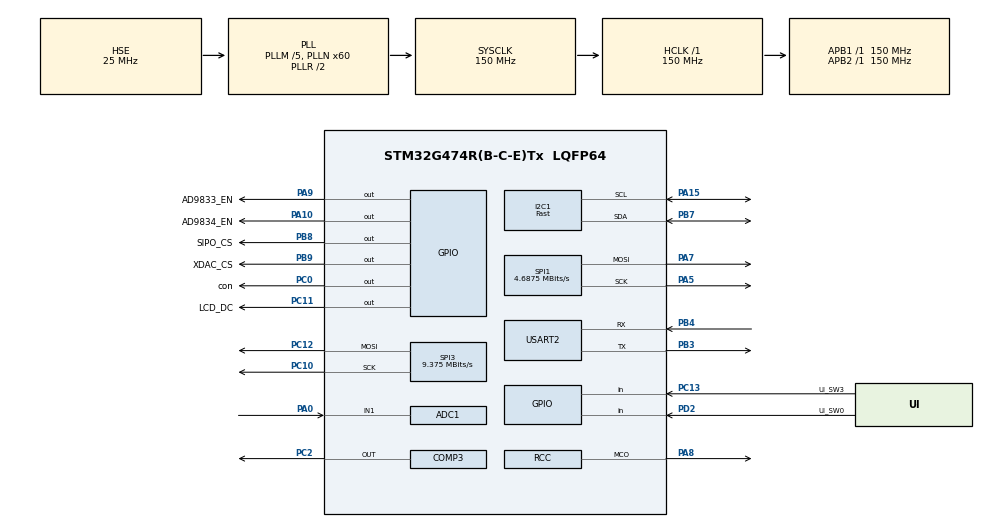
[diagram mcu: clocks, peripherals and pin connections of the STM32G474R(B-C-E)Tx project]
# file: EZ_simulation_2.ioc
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ADC1.Channel-1\#ChannelRegularConversion=ADC_CHANNEL_1
ADC1.ClockPrescaler=ADC_CLOCK_ASYNC_DIV1
ADC1.ContinuousConvMode=DISABLE
ADC1.ExternalTrigConv=ADC_EXTERNALTRIG_T6_TRGO
ADC1.NbrOfConversion=1
ADC1.NbrOfConversionFlag=1
ADC1.OffsetNumber-1\#ChannelRegularConversion=ADC_OFFSET_NONE
ADC1.Rank-1\#ChannelRegularConversion=1
ADC1.SamplingTime-1\#ChannelRegularConversion=ADC_SAMPLETIME_2CYCLES_5
ADC1.master=1
COMP3.Hysteresis=COMP_HYSTERESIS_70MV
CRC.CRCLength=CRC_POLYLENGTH_16B
CRC.DefaultInitValueUse=DEFAULT_INIT_VALUE_DISABLE
CRC.DefaultPolynomialUse=DEFAULT_POLYNOMIAL_DISABLE
CRC.GeneratingPolynomial=X12+X5+X0
Dma.ADC1.1.Direction=DMA_PERIPH_TO_MEMORY
Dma.ADC1.1.EventEnable=DISABLE
Dma.ADC1.1.Instance=DMA1_Channel1
Dma.ADC1.1.MemDataAlignment=DMA_MDATAALIGN_HALFWORD
Dma.ADC1.1.MemInc=DMA_MINC_ENABLE
Dma.ADC1.1.Mode=DMA_NORMAL
Dma.ADC1.1.PeriphDataAlignment=DMA_PDATAALIGN_HALFWORD
Dma.ADC1.1.PeriphInc=DMA_PINC_DISABLE
Dma.ADC1.1.Polarity=HAL_DMAMUX_REQ_GEN_RISING
Dma.ADC1.1.Priority=DMA_PRIORITY_LOW
Dma.ADC1.1.RequestNumber=1
Dma.ADC1.1.SignalID=NONE
Dma.ADC1.1.SyncEnable=DISABLE
Dma.ADC1.1.SyncPolarity=HAL_DMAMUX_SYNC_NO_EVENT
Dma.ADC1.1.SyncRequestNumber=1
Dma.ADC1.1.SyncSignalID=NONE
Dma.Request0=USART2_RX
Dma.Request1=ADC1
Dma.Request2=TIM2_CH1
Dma.TIM2_CH1.2.Direction=DMA_PERIPH_TO_MEMORY
Dma.TIM2_CH1.2.EventEnable=DISABLE
Dma.TIM2_CH1.2.Instance=DMA1_Channel2
Dma.TIM2_CH1.2.MemDataAlignment=DMA_MDATAALIGN_WORD
Dma.TIM2_CH1.2.MemInc=DMA_MINC_ENABLE
Dma.TIM2_CH1.2.Mode=DMA_NORMAL
Dma.TIM2_CH1.2.PeriphDataAlignment=DMA_PDATAALIGN_WORD
Dma.TIM2_CH1.2.PeriphInc=DMA_PINC_DISABLE
Dma.TIM2_CH1.2.Polarity=HAL_DMAMUX_REQ_GEN_RISING
Dma.TIM2_CH1.2.Priority=DMA_PRIORITY_HIGH
Dma.TIM2_CH1.2.RequestNumber=1
Dma.TIM2_CH1.2.SignalID=NONE
Dma.TIM2_CH1.2.SyncEnable=DISABLE
Dma.TIM2_CH1.2.SyncPolarity=HAL_DMAMUX_SYNC_NO_EVENT
Dma.TIM2_CH1.2.SyncRequestNumber=1
Dma.TIM2_CH1.2.SyncSignalID=NONE
Dma.USART2_RX.0.Direction=DMA_PERIPH_TO_MEMORY
Dma.USART2_RX.0.EventEnable=DISABLE
Dma.USART2_RX.0.Instance=DMA2_Channel8
Dma.USART2_RX.0.MemDataAlignment=DMA_MDATAALIGN_BYTE
Dma.USART2_RX.0.MemInc=DMA_MINC_ENABLE
Dma.USART2_RX.0.Mode=DMA_NORMAL
Dma.USART2_RX.0.PeriphDataAlignment=DMA_PDATAALIGN_BYTE
Dma.USART2_RX.0.PeriphInc=DMA_PINC_DISABLE
Dma.USART2_RX.0.Polarity=HAL_DMAMUX_REQ_GEN_RISING
Dma.USART2_RX.0.Priority=DMA_PRIORITY_LOW
Dma.USART2_RX.0.RequestNumber=1
Dma.USART2_RX.0.SignalID=NONE
Dma.USART2_RX.0.SyncEnable=DISABLE
Dma.USART2_RX.0.SyncPolarity=HAL_DMAMUX_SYNC_NO_EVENT
Dma.USART2_RX.0.SyncRequestNumber=1
Dma.USART2_RX.0.SyncSignalID=NONE
I2C1.I2C_Speed_Mode=I2C_Fast
I2C1.Timing=0x10E32879
Mcu.Family=STM32G4
Mcu.Name=STM32G474R(B-C-E)Tx
Mcu.Package=LQFP64
NVIC.DMA1_Channel1_IRQn=true\:0\:0\:false\:false\:true\:false\:true\:true
NVIC.DMA1_Channel2_IRQn=true\:0\:0\:false\:false\:true\:false\:true\:true
NVIC.DMA2_Channel8_IRQn=true\:0\:0\:false\:false\:true\:false\:true\:true
NVIC.PriorityGroup=NVIC_PRIORITYGROUP_4
NVIC.USART2_IRQn=true\:14\:0\:true\:false\:true\:true\:true\:true
PA0.Signal=SharedAnalog_PA0
PA10.GPIO_Label=AD9834_EN
PA10.Signal=GPIO_Output
PA13.Mode=Serial_Wire
PA13.Signal=SYS_JTMS-SWDIO
PA14.Mode=Serial_Wire
PA14.Signal=SYS_JTCK-SWCLK
PA15.Mode=I2C
PA15.Signal=I2C1_SCL
PA5.Mode=TX_Only_Simplex_Unidirect_Master
PA5.Signal=SPI1_SCK
PA7.Mode=TX_Only_Simplex_Unidirect_Master
PA7.Signal=SPI1_MOSI
PA8.GPIO_Speed=GPIO_SPEED_FREQ_HIGH
PA8.Mode=Clock-out
PA8.Signal=RCC_MCO
PA9.GPIO_Label=AD9833_EN
PA9.Signal=GPIO_Output
PB3.Mode=Asynchronous
PB3.Signal=USART2_TX
PB4.Mode=Asynchronous
PB4.Signal=USART2_RX
PB7.Mode=I2C
PB7.Signal=I2C1_SDA
PB8-BOOT0.GPIO_FM8=__NULL
PB8-BOOT0.GPIO_Label=SIPO_CS
PB8-BOOT0.GPIO_PuPd=GPIO_NOPULL
PB8-BOOT0.PinState=GPIO_PIN_RESET
PB8-BOOT0.Signal=GPIO_Output
PB9.GPIO_Label=XDAC_CS
PB9.GPIO_PuPd=GPIO_NOPULL
PB9.PinState=GPIO_PIN_SET
PB9.Signal=GPIO_Output
PC0.GPIO_Label=con
PC0.Signal=GPIO_Output
PC10.Mode=TX_Only_Simplex_Unidirect_Master
PC10.Signal=SPI3_SCK
PC11.GPIO_Label=LCD_DC
PC11.Signal=GPIO_Output
PC12.Mode=TX_Only_Simplex_Unidirect_Master
PC12.Signal=SPI3_MOSI
PC13.GPIO_Label=UI_SW3
PC13.GPIO_PuPd=GPIO_PULLUP
PC13.Signal=GPIO_Input
PC2.Mode=ExternalOutput
PC2.Signal=COMP3_OUT
PD2.GPIO_Label=UI_SW0
PD2.GPIO_PuPd=GPIO_PULLUP
PD2.Signal=GPIO_Input
PF0-OSC_IN.Mode=HSE-External-Oscillator
PF0-OSC_IN.Signal=RCC_OSC_IN
PF1-OSC_OUT.Mode=HSE-External-Oscillator
PF1-OSC_OUT.Signal=RCC_OSC_OUT
ProjectManager.HeapSize=0x200
ProjectManager.StackSize=0x400
ProjectManager.TargetToolchain=STM32CubeIDE
RCC.ADC12CLockSelection=RCC_ADC12CLKSOURCE_PLL
RCC.ADC12Freq_Value=60000000
RCC.ADC345Freq_Value=150000000
RCC.AHBFreq_Value=150000000
RCC.APB1Freq_Value=150000000
RCC.APB1TimFreq_Value=150000000
RCC.APB2Freq_Value=150000000
RCC.APB2TimFreq_Value=150000000
RCC.CortexFreq_Value=150000000
RCC.EXTERNAL_CLOCK_VALUE=12288000
RCC.HCLKFreq_Value=150000000
RCC.HSE_VALUE=25000000
RCC.HSI48_VALUE=48000000
RCC.HSI_VALUE=16000000
RCC.LSE_VALUE=32768
RCC.PLLM=RCC_PLLM_DIV5
RCC.PLLN=60
RCC.PLLP=RCC_PLLP_DIV5
RCC.PLLSourceVirtual=RCC_PLLSOURCE_HSE
RCC.RCC_MCO1Source=RCC_MCO1SOURCE_HSE
RCC.SYSCLKFreq_VALUE=150000000
RCC.SYSCLKSource=RCC_SYSCLKSOURCE_PLLCLK
RCC.USART2CLockSelection=RCC_USART2CLKSOURCE_SYSCLK
RCC.USBFreq_Value=150000000
RCC.VCOOutputFreq_Value=300000000
SH.SharedAnalog_PA0.0=ADC1_IN1,IN1-Single-Ended
SH.SharedAnalog_PA0.1=COMP3_INP,INP
SPI1.BaudRatePrescaler=SPI_BAUDRATEPRESCALER_32
SPI1.CalculateBaudRate=4.6875 MBits/s
SPI1.DataSize=SPI_DATASIZE_8BIT
SPI1.Direction=SPI_DIRECTION_2LINES
SPI1.Mode=SPI_MODE_MASTER
SPI1.VirtualType=VM_MASTER
SPI3.BaudRatePrescaler=SPI_BAUDRATEPRESCALER_16
SPI3.CLKPolarity=SPI_POLARITY_HIGH
SPI3.CalculateBaudRate=9.375 MBits/s
SPI3.DataSize=SPI_DATASIZE_16BIT
SPI3.Direction=SPI_DIRECTION_2LINES
SPI3.Mode=SPI_MODE_MASTER
SPI3.VirtualType=VM_MASTER
TIM15.TIM_MasterOutputTrigger=TIM_TRGO_UPDATE
TIM2.Channel-Input_Capture1_from_TI1_REMAP_TIM2=TIM_CHANNEL_1
TIM2.TIM2_TI1_REMAP-Input_Capture1_from_TI1_REMAP_TIM2=TIM_TIM2_TI1_COMP3
TIM6.PeriodNoDither=150-1
TIM6.TIM_MasterOutputTrigger=TIM_TRGO_UPDATE
USART2.VirtualMode-Asynchronous=VM_ASYNC
VP_COMP3_VS_DAC1OUT1.Mode=INM_DAC1OUT1
VP_CRC_VS_CRC.Mode=CRC_Activate
VP_DAC1_VS_DACI1.Mode=DAC_OUT1_Int
VP_SYS_VS_DBSignals.Mode=DisableDeadBatterySignals
VP_TIM15_VS_ClockSourceINT.Mode=Internal
VP_TIM2_VS_ClockSourceINT.Mode=Internal
VP_TIM2_VS_NoInput1.Mode=Input_Capture1_from_TI1_REMAP_TIM2
VP_TIM3_VS_ClockSourceINT.Mode=Internal
VP_TIM6_VS_ClockSourceINT.Mode=Enable_Timer
VP_TIM7_VS_ClockSourceINT.Mode=Enable_Timer
board=custom

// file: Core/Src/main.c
/* USER CODE BEGIN Header */
/**
  ******************************************************************************
  * @file           : main.c
  * @brief          : Main program body
  ******************************************************************************
  * @attention
  *
  * Copyright (c) 2024 STMicroelectronics.
  * All rights reserved.
  *
  * This software is licensed under terms that can be found in the LICENSE file
  * in the root directory of this software component.
  * If no LICENSE file comes with this software, it is provided AS-IS.
  *
  ******************************************************************************
  */
/* USER CODE END Header */
#include "main.h"

/* USER CODE BEGIN Includes */
#include "measure.h"
#include <stdio.h>
#include "fitting.h"
#include "arm_math.h"
#include "dds.h"
/* USER CODE END Includes */

ADC_HandleTypeDef hadc1;
DMA_HandleTypeDef hdma_adc1;

COMP_HandleTypeDef hcomp3;

CRC_HandleTypeDef hcrc;

DAC_HandleTypeDef hdac1;

I2C_HandleTypeDef hi2c1;

SPI_HandleTypeDef hspi1;
SPI_HandleTypeDef hspi3;

TIM_HandleTypeDef htim2;
TIM_HandleTypeDef htim3;
TIM_HandleTypeDef htim6;
TIM_HandleTypeDef htim7;
TIM_HandleTypeDef htim15;
DMA_HandleTypeDef hdma_tim2_ch1;

UART_HandleTypeDef huart2;
DMA_HandleTypeDef hdma_usart2_rx;

void SystemClock_Config(void);
static void MX_GPIO_Init(void);
static void MX_DMA_Init(void);
static void MX_CRC_Init(void);
static void MX_USART2_UART_Init(void);
static void MX_ADC1_Init(void);
static void MX_SPI3_Init(void);
static void MX_TIM6_Init(void);
static void MX_I2C1_Init(void);
static void MX_DAC1_Init(void);
static void MX_COMP3_Init(void);
static void MX_TIM3_Init(void);
static void MX_TIM2_Init(void);
static void MX_TIM7_Init(void);
static void MX_TIM15_Init(void);
static void MX_SPI1_Init(void);
/* USER CODE BEGIN PFP */

#define N 1024
#define AFE_GAIN_1  0b00000100
#define AFE_GAIN_2  0b00001000
#define AFE_GAIN_3  0b00000000
#define AFE_GAIN_4  0b00001110
#define AFE_GAIN_5  0b00001100
#define AFE_GAIN_6  0b00000010
#define GAIN_1 0.066
#define GAIN_2 0.2
#define GAIN_3 0.6
#define GAIN_4 1.95
#define GAIN_5 3.8
#define GAIN_6 7.8

#define DAC_AFE_OFF1 0
#define DAC_AFE_OFF2 1

#define AFE_GAIN_CS SIPO_CS

#define AWG_GAIN_1  0b00000100
#define AWG_GAIN_2  0b00100000
#define AWG_GAIN_3  0b00010000
#define AWG_GAIN_4  0b00110000

#define nop asm("NOP\n\r")

uint8_t adc_buffer[2050];
uint8_t gain_state;
static uint8_t now_level;
float afe_gain[6] ={0.33, 1, 3, 9.5, 19, 39};
uint16_t awg_offset_level_buffer[16]={
    2048, 2048, 2048, 2048,
    2048, 2048, 2048, 2048,
    2048, 2048, 2048, 2048,
    2048, 2048, 2048, 2048
};
float window[N];

volatile float freq_big;
volatile float freq_small;
int phase_set = 0;
//static int freq_1 = 0;
//static  freq_2 = 0;
//static  waveform_1 = 0;//waveform = 0: sine, waveform = 1: triangle
//static  waveform_2 = 0;
/* USER CODE END PFP */

/* USER CODE BEGIN 0 */

void HAL_ADC_ConvCpltCallback(ADC_HandleTypeDef *hadc)
{
	if (hadc != &hadc1)
		return;
	adc_ongoing = 0;
	HAL_ADC_Stop_DMA(hadc);
	HAL_TIM_Base_Stop(&htim6);
}

void send_ad9834(uint16_t cmd)
{
	//SPI3->CR1 |= 1<<1;
  HAL_GPIO_WritePin(AD9834_EN_GPIO_Port, AD9834_EN_Pin, GPIO_PIN_RESET);
  HAL_SPI_Transmit(&hspi3, (uint8_t*)&cmd, 1, 10);
  HAL_GPIO_WritePin(AD9834_EN_GPIO_Port, AD9834_EN_Pin, GPIO_PIN_SET);
}
void send_ad9833(uint16_t cmd)
{
	//SPI3->CR1 |= 1<<1;
  HAL_GPIO_WritePin(AD9833_EN_GPIO_Port, AD9833_EN_Pin, GPIO_PIN_RESET);
  HAL_SPI_Transmit(&hspi3, (uint8_t*)&cmd, 1, 10);
  HAL_GPIO_WritePin(AD9833_EN_GPIO_Port, AD9833_EN_Pin, GPIO_PIN_SET);
}

void fankui(uint16_t * gotsmoke , ADC_HandleTypeDef * hadc , TIM_HandleTypeDef * htim ,long long int freq ,void (*send_data)(uint16_t) , int waveform )
{
	float temp[1024] = {0};
	samp(gotsmoke, 1025, htim, hadc);
	int_to_float(gotsmoke + 1, temp);

	int freq_buffer[100] = {0};
	int mo[100] = {0};
	float k = 1;
	float direction = -1;
	int head = 0;
	float now_freq = freq;
	//mo[head] = api_mo;
	freq_buffer[head] = now_freq;
	head++;
	while(1)
	{
		now_freq += k * direction;
		set_freq(send_data, now_freq, waveform);
		samp(gotsmoke, 1025, htim, hadc);
		int_to_float(gotsmoke + 1, temp);
		//mo[head] = api_mo;
		freq_buffer[head] = now_freq;
		if (mo[head] < mo[head - 1])
		{
			direction *= -1;
			now_freq = freq_buffer[head - 1];
			if ( head >=2 &&mo[head - 1] > mo[head - 2] )
				{
					set_freq(send_data, freq_buffer[head - 1], waveform);
					break;
				}
		}
		if (head == 100)
			{
				set_freq(send_data, freq, waveform);
				break;
			}
		head++;
	}
}

void get_nop(float phase, float freq, int n, TIM_HandleTypeDef* htim)
{
	n = (int)(phase * 1e7 / 24 / freq);
	htim->Instance->ARR = n - 1;
	HAL_TIM_Base_Start(&htim15);
    set_freq(send_ad9834, freq_big, 0);
}

void HAL_TIM_PeriodElapsedCallback(TIM_HandleTypeDef* htim)
{
	if(htim != &htim15)
		return;
	set_freqset_freq(send_ad9833, freq_small, 0);
}

void AFE_Offset_LDAC_Init()
{
  uint16_t cmd=0x9000;
  HAL_GPIO_WritePin(XDAC_CS_GPIO_Port, XDAC_CS_Pin, GPIO_PIN_RESET);
  HAL_SPI_Transmit(&hspi3, (uint8_t*)&cmd, 1, 10);
  HAL_GPIO_WritePin(XDAC_CS_GPIO_Port, XDAC_CS_Pin, GPIO_PIN_SET);
}
/**
  * @brief  set AFE gain
  * @param  gain_level uint8_t from 1 to 6, bigger number bigger gain, gain is 1/3, 1, 3, 9.5, 19, 39,
  *                    with a extra 1/5 decrease
  */
void AFE_Gain(uint8_t gain_level){

	if (gain_level<=0 || gain_level>6){
        return;
    }
    else {
    uint8_t Gain_Levels[6]={
        AFE_GAIN_1, AFE_GAIN_2, AFE_GAIN_3,
        AFE_GAIN_4, AFE_GAIN_5, AFE_GAIN_6
    };
    gain_state |= Gain_Levels[gain_level-1];
    uint16_t state=gain_state;
    HAL_GPIO_WritePin(SIPO_CS_GPIO_Port, SIPO_CS_Pin, GPIO_PIN_RESET);
    HAL_SPI_Transmit(&hspi3, (uint8_t*)&state, 1, 10);
    HAL_GPIO_WritePin(SIPO_CS_GPIO_Port, SIPO_CS_Pin, GPIO_PIN_SET);
    }
}
/**
  * @brief  set AFE offset
  * @param  offset_level uint16_t from 0 to 4095, 12bit DAC with Vref is 5V
  */
void AFE_Offset(uint16_t offset_level){
  if (offset_level <0 || offset_level >= 4096) {
    return ;
  }
  else {
    uint16_t AFE_cmd=((DAC_AFE_OFF2*16+offset_level/256)<<8)+offset_level%256;
    HAL_GPIO_WritePin(XDAC_CS_GPIO_Port, XDAC_CS_Pin, GPIO_PIN_RESET);
    HAL_SPI_Transmit(&hspi3, (uint8_t*)&AFE_cmd, 1, 10);
    HAL_GPIO_WritePin(XDAC_CS_GPIO_Port, XDAC_CS_Pin, GPIO_PIN_SET);
  }
}

int roundToNearest5(int num)
{
    int remainder = num % 5;
    if (remainder >= 2.5) {
        return num + (5 - remainder);
    }
    else {
        return num - remainder;
    }
}

/* USER CODE END 0 */

int main(void)
{

  /* MCU Configuration--------------------------------------------------------*/

  /* Reset of all peripherals, Initializes the Flash interface and the Systick. */
  HAL_Init();

  /* Configure the system clock */
  SystemClock_Config();

  /* Initialize all configured peripherals */
  MX_GPIO_Init();
  MX_DMA_Init();
  MX_CRC_Init();
  MX_USART2_UART_Init();
  MX_ADC1_Init();
  MX_SPI3_Init();
  MX_TIM6_Init();
  MX_I2C1_Init();
  MX_DAC1_Init();
  MX_COMP3_Init();
  MX_TIM3_Init();
  MX_TIM2_Init();
  MX_TIM7_Init();
  MX_TIM15_Init();
  MX_SPI1_Init();
  /* USER CODE BEGIN 2 */

  for (int i = 0; i < N; ++i)
  {
	  window[i] = 0.5 - 0.5 * arm_cos_f32(i * (2 * PI / (N - 1)));
  }

	SPI3->CR1 &= ~(1<<1);
    //SPI3->CR2 &= ~(1<<11);
	AFE_Offset_LDAC_Init();
	AFE_Gain(3);
	AFE_Offset(256);
	SPI3->CR1 |= 1<<1;
	//SPI3->CR2 |= 1<<11;

	//setup();
  float fft_in[N] = {0};
  float fft_out[N] = {0};
  float deal_mag[N] = {0};
  int counter = 0;
  GPIO_PinState prev_1 = 1;
  GPIO_PinState prev_2 = 1;
  long long int freq_test = 10000;

  //set_n_freq(send_ad9834,send_ad9833, freq_test, 3);

  /* USER CODE END 2 */

  /* Infinite loop */
  while (1)
  {

    /* USER CODE BEGIN 3 */
	  GPIO_PinState curr_1 = HAL_GPIO_ReadPin(UI_SW0_GPIO_Port, UI_SW0_Pin);
	  GPIO_PinState curr_2 = HAL_GPIO_ReadPin(UI_SW3_GPIO_Port, UI_SW3_Pin);
      if(curr_1 && !prev_1)
      {
		  set_sm_freq(1e6 , &htim6);
		  samp(adc_buffer, 1025, &htim6, &hadc1);
		  uint16_t temp_buffer[1025];
		  make_8to16(adc_buffer, 2050, temp_buffer);
		  int_to_float(temp_buffer + 1, fft_in);
		  for (int i = 0; i < N; ++i)
		  {
			  fft_in[i] *= window[i];
		  }
		  fft_transfer(fft_in, fft_out, deal_mag);

		  int freq_1 = 0;
		  int freq_2 = 0;
		  int waveform_1 = 0;//waveform = 0: sine, waveform = 1: triangle
		  int waveform_2 = 0;

		  float max = 0;
		  float sec = 0;
		  /*set_freq_wave(deal_mag);*/
		  uint32_t big_mag[6] = {0};
		  int index[6] = {0};
		  int freq_counter = 0;
		  uint8_t k = 0;
		  for(int i = 2; i < 512; ++i)
		  {
			  if((deal_mag[i]) > 2400)
			  {
				  if(deal_mag[i] > deal_mag[i-1] && deal_mag[i] > deal_mag[i+1])
				  {
					  big_mag[k] = deal_mag[i];
					  index[k] = i;
					  k++;
				  }
			  }
			  if(k == 6) break;
		  }
		  for(int i = 0;i < 6; ++i)
		  {
			  index[i] = ((index[i] * 0.97656) / 5) * 5;
			  index[i] = roundToNearest5(index[i]);
			  if(index[i] > 0) freq_counter ++;
		  }

		  switch(freq_counter)
		  {
			  case 1:
			  {
				  waveform_1 = 0;
				  waveform_2 = 0;
				  freq_1 = index[0];
				  freq_2 = index[0];
				  break;
			  }
			  case 2 :
			  {
				  if(index[0] == 100 && index[1] ==300)
				  {
					  waveform_1 = 1;
					  waveform_2 = 1;
					  freq_1 = index[0];
					  freq_2 = index[0];
					  break;
				  }
				  waveform_1 = 0;
				  waveform_2 = 0;
				  freq_1 = index[0];
				  if(big_mag[1] < 10000)
				  {
					  freq_2 = index[0];
				  }
				  else
				  {
					  freq_2 = index[1];
				  }
				  break;
			  }
			  case 3:
			  {
				  if(big_mag[1]>13000 && big_mag[1]<50000 && big_mag[1]>3000 && big_mag[1]<50000)
				  {
					  waveform_1 = 1;
					  waveform_2 = 1;
					  freq_1 = index[0];
					  freq_2 = index[0];
					  break;
				  }
				  waveform_1 = 0;
				  waveform_2 = 1;
				  freq_2 = 100;
				  for(int i = 0;i < 6; ++i)
				  {
					  if(big_mag[i] > max)
					  {
						  max = big_mag[i];
						  freq_1 = index[i];
					  }
					  if(index[0] * 3 == index[1] && index[0] * 5 == index[2])
					  {
						  freq_2 = index[0];
					  }
				  }
				  break;
			  }
			  case 4 :
			  {
				  if(index[0] * 3 == index[1] && index[0] * 5 == index[2] && 100 < index[3])
				  {
					  waveform_1 = 1;
					  waveform_2 = 1;
					  freq_1 = index[0];
					  freq_2 = index[0];
					  break;
				  }
				  waveform_1 = 0;
				  waveform_2 = 1;
				  for(int i = 0;i < 6; ++i)
				  {
					  if(big_mag[i] > sec)
					  {
						  if(big_mag[i] > max)
						  {
							  sec = max;
							  freq_2 = freq_1;
							  max = big_mag[i];
							  freq_1 = index[i];
						  }
						  else
						  {
							  sec = big_mag[i];
							  freq_2 = index[i];
						  }
					  }
				  }
				  break;
			  }
			  case 5 : case 6:
			  {
				  waveform_1 = 1;
				  waveform_2 = 1;
//				  if(index[0] == index[1] / 2 && index[0] == index[2] / 3 &&index[0] == index[3] / 5)
//				  {
//					  freq_1 = index[0];
//					  freq_2 = index[0];
//					  break;
//				  }
				  for(int i = 0;i < 6; ++i)
				  {
					  if(big_mag[i] > sec)
					  {
						  if(big_mag[i] > max)
						  {
							  sec = max;
							  freq_2 = freq_1;
							  max = big_mag[i];
							  freq_1 = index[i];
						  }
						  else
						  {
							  sec = big_mag[i];
							  freq_2 = index[i];
						  }
					  }
				  }
				  if(sec < 50000) freq_2 = freq_1;
				  break;
			  }
		  }
		  set_freq(send_ad9833, freq_1 * 1000, waveform_1);
		  set_freq(send_ad9834, freq_2 * 1000, waveform_2);
	  }
      prev_1 = curr_1;

      if(curr_2 && !prev_2)
      {
          set_sm_freq(1e6 , &htim6);
          samp(adc_buffer, 1025, &htim6, &hadc1);
          uint16_t temp_buffer[1025];
    	  make_8to16(adc_buffer, 2050, temp_buffer);
    	  int_to_float(temp_buffer + 1, fft_in);
		  for (int i = 0; i < N; ++i)
		  {
			  fft_in[i] *= window[i];
		  }
		  fft_transfer(fft_in, fft_out, deal_mag);

    	  long long int freq_small = 0;
    	  int m = 0;
    	  int target[2];
		  for(int i = 2; i < 512; ++i)
		  {
			  if((deal_mag[i]) > 40000)
			  {
				  if(deal_mag[i] > deal_mag[i-1] && deal_mag[i] > deal_mag[i+1])
				  {
					  target[m] = i;
					  m++;
				  }
			  }
			  if(m == 2) break;
		  }
    	  int freq_about = target[0] * 0.9766;
    	  freq_small = roundToNearest5(freq_about);
          //get_LIA_freq(fft_in, freq_about, &freq_small);
		  int times;
		  float freq_big = freq_small;
		  for(int i = 2; i < (512 / freq_small); ++i)
		  {
			  float ntimes = i * freq_small * 1.024;
			  int ntime = ntimes;
			  if(ntime > 512) break;
			  if((deal_mag[ntime]) > 20000)
			  {
                  freq_big = freq_small * i;
                  times = i;
			  }
		  }
		  counter += 5;
		  if(counter == 180) counter = 0;
          set_n_freq(send_ad9834, send_ad9833, freq_small * 1000, times, phase_set);
      }
      prev_2 = curr_2;
  }

  /* USER CODE END 3 */
}

void SystemClock_Config(void)
{
  RCC_OscInitTypeDef RCC_OscInitStruct = {0};
  RCC_ClkInitTypeDef RCC_ClkInitStruct = {0};

  /** Configure the main internal regulator output voltage
  */
  HAL_PWREx_ControlVoltageScaling(PWR_REGULATOR_VOLTAGE_SCALE1);

  /** Initializes the RCC Oscillators according to the specified parameters
  * in the RCC_OscInitTypeDef structure.
  */
  RCC_OscInitStruct.OscillatorType = RCC_OSCILLATORTYPE_HSE;
  RCC_OscInitStruct.HSEState = RCC_HSE_ON;
  RCC_OscInitStruct.PLL.PLLState = RCC_PLL_ON;
  RCC_OscInitStruct.PLL.PLLSource = RCC_PLLSOURCE_HSE;
  RCC_OscInitStruct.PLL.PLLM = RCC_PLLM_DIV5;
  RCC_OscInitStruct.PLL.PLLN = 60;
  RCC_OscInitStruct.PLL.PLLP = RCC_PLLP_DIV5;
  RCC_OscInitStruct.PLL.PLLQ = RCC_PLLQ_DIV2;
  RCC_OscInitStruct.PLL.PLLR = RCC_PLLR_DIV2;
  if (HAL_RCC_OscConfig(&RCC_OscInitStruct) != HAL_OK)
  {
    Error_Handler();
  }

  /** Initializes the CPU, AHB and APB buses clocks
  */
  RCC_ClkInitStruct.ClockType = RCC_CLOCKTYPE_HCLK|RCC_CLOCKTYPE_SYSCLK
                              |RCC_CLOCKTYPE_PCLK1|RCC_CLOCKTYPE_PCLK2;
  RCC_ClkInitStruct.SYSCLKSource = RCC_SYSCLKSOURCE_PLLCLK;
  RCC_ClkInitStruct.AHBCLKDivider = RCC_SYSCLK_DIV1;
  RCC_ClkInitStruct.APB1CLKDivider = RCC_HCLK_DIV1;
  RCC_ClkInitStruct.APB2CLKDivider = RCC_HCLK_DIV1;

  if (HAL_RCC_ClockConfig(&RCC_ClkInitStruct, FLASH_LATENCY_4) != HAL_OK)
  {
    Error_Handler();
  }
  HAL_RCC_MCOConfig(RCC_MCO1, RCC_MCO1SOURCE_HSE, RCC_MCODIV_1);
}

static void MX_ADC1_Init(void)
{

  ADC_MultiModeTypeDef multimode = {0};
  ADC_ChannelConfTypeDef sConfig = {0};

  /** Common config
  */
  hadc1.Instance = ADC1;
  hadc1.Init.ClockPrescaler = ADC_CLOCK_ASYNC_DIV1;
  hadc1.Init.Resolution = ADC_RESOLUTION_12B;
  hadc1.Init.DataAlign = ADC_DATAALIGN_RIGHT;
  hadc1.Init.GainCompensation = 0;
  hadc1.Init.ScanConvMode = ADC_SCAN_DISABLE;
  hadc1.Init.EOCSelection = ADC_EOC_SINGLE_CONV;
  hadc1.Init.LowPowerAutoWait = DISABLE;
  hadc1.Init.ContinuousConvMode = DISABLE;
  hadc1.Init.NbrOfConversion = 1;
  hadc1.Init.DiscontinuousConvMode = DISABLE;
  hadc1.Init.ExternalTrigConv = ADC_EXTERNALTRIG_T6_TRGO;
  hadc1.Init.ExternalTrigConvEdge = ADC_EXTERNALTRIGCONVEDGE_RISING;
  hadc1.Init.DMAContinuousRequests = DISABLE;
  hadc1.Init.Overrun = ADC_OVR_DATA_PRESERVED;
  hadc1.Init.OversamplingMode = DISABLE;
  if (HAL_ADC_Init(&hadc1) != HAL_OK)
  {
    Error_Handler();
  }

  /** Configure the ADC multi-mode
  */
  multimode.Mode = ADC_MODE_INDEPENDENT;
  if (HAL_ADCEx_MultiModeConfigChannel(&hadc1, &multimode) != HAL_OK)
  {
    Error_Handler();
  }

  /** Configure Regular Channel
  */
  sConfig.Channel = ADC_CHANNEL_1;
  sConfig.Rank = ADC_REGULAR_RANK_1;
  sConfig.SamplingTime = ADC_SAMPLETIME_2CYCLES_5;
  sConfig.SingleDiff = ADC_SINGLE_ENDED;
  sConfig.OffsetNumber = ADC_OFFSET_NONE;
  sConfig.Offset = 0;
  if (HAL_ADC_ConfigChannel(&hadc1, &sConfig) != HAL_OK)
  {
    Error_Handler();
  }

}

static void MX_COMP3_Init(void)
{

  hcomp3.Instance = COMP3;
  hcomp3.Init.InputPlus = COMP_INPUT_PLUS_IO1;
  hcomp3.Init.InputMinus = COMP_INPUT_MINUS_DAC1_CH1;
  hcomp3.Init.OutputPol = COMP_OUTPUTPOL_NONINVERTED;
  hcomp3.Init.Hysteresis = COMP_HYSTERESIS_70MV;
  hcomp3.Init.BlankingSrce = COMP_BLANKINGSRC_NONE;
  hcomp3.Init.TriggerMode = COMP_TRIGGERMODE_NONE;
  if (HAL_COMP_Init(&hcomp3) != HAL_OK)
  {
    Error_Handler();
  }

}

static void MX_CRC_Init(void)
{

  hcrc.Instance = CRC;
  hcrc.Init.DefaultPolynomialUse = DEFAULT_POLYNOMIAL_DISABLE;
  hcrc.Init.DefaultInitValueUse = DEFAULT_INIT_VALUE_DISABLE;
  hcrc.Init.GeneratingPolynomial = 4129;
  hcrc.Init.CRCLength = CRC_POLYLENGTH_16B;
  hcrc.Init.InitValue = 0;
  hcrc.Init.InputDataInversionMode = CRC_INPUTDATA_INVERSION_NONE;
  hcrc.Init.OutputDataInversionMode = CRC_OUTPUTDATA_INVERSION_DISABLE;
  hcrc.InputDataFormat = CRC_INPUTDATA_FORMAT_BYTES;
  if (HAL_CRC_Init(&hcrc) != HAL_OK)
  {
    Error_Handler();
  }

}

static void MX_DAC1_Init(void)
{

  DAC_ChannelConfTypeDef sConfig = {0};

  /** DAC Initialization
  */
  hdac1.Instance = DAC1;
  if (HAL_DAC_Init(&hdac1) != HAL_OK)
  {
    Error_Handler();
  }

  /** DAC channel OUT1 config
  */
  sConfig.DAC_HighFrequency = DAC_HIGH_FREQUENCY_INTERFACE_MODE_AUTOMATIC;
  sConfig.DAC_DMADoubleDataMode = DISABLE;
  sConfig.DAC_SignedFormat = DISABLE;
  sConfig.DAC_SampleAndHold = DAC_SAMPLEANDHOLD_DISABLE;
  sConfig.DAC_Trigger = DAC_TRIGGER_NONE;
  sConfig.DAC_Trigger2 = DAC_TRIGGER_NONE;
  sConfig.DAC_OutputBuffer = DAC_OUTPUTBUFFER_DISABLE;
  sConfig.DAC_ConnectOnChipPeripheral = DAC_CHIPCONNECT_INTERNAL;
  sConfig.DAC_UserTrimming = DAC_TRIMMING_FACTORY;
  if (HAL_DAC_ConfigChannel(&hdac1, &sConfig, DAC_CHANNEL_1) != HAL_OK)
  {
    Error_Handler();
  }

}

static void MX_I2C1_Init(void)
{

  hi2c1.Instance = I2C1;
  hi2c1.Init.Timing = 0x10E32879;
  hi2c1.Init.OwnAddress1 = 0;
  hi2c1.Init.AddressingMode = I2C_ADDRESSINGMODE_7BIT;
  hi2c1.Init.DualAddressMode = I2C_DUALADDRESS_DISABLE;
  hi2c1.Init.OwnAddress2 = 0;
  hi2c1.Init.OwnAddress2Masks = I2C_OA2_NOMASK;
  hi2c1.Init.GeneralCallMode = I2C_GENERALCALL_DISABLE;
  hi2c1.Init.NoStretchMode = I2C_NOSTRETCH_DISABLE;
  if (HAL_I2C_Init(&hi2c1) != HAL_OK)
  {
    Error_Handler();
  }

  /** Configure Analogue filter
  */
  if (HAL_I2CEx_ConfigAnalogFilter(&hi2c1, I2C_ANALOGFILTER_ENABLE) != HAL_OK)
  {
    Error_Handler();
  }

  /** Configure Digital filter
  */
  if (HAL_I2CEx_ConfigDigitalFilter(&hi2c1, 0) != HAL_OK)
  {
    Error_Handler();
  }

}

static void MX_SPI1_Init(void)
{

  /* SPI1 parameter configuration*/
  hspi1.Instance = SPI1;
  hspi1.Init.Mode = SPI_MODE_MASTER;
  hspi1.Init.Direction = SPI_DIRECTION_2LINES;
  hspi1.Init.DataSize = SPI_DATASIZE_8BIT;
  hspi1.Init.CLKPolarity = SPI_POLARITY_LOW;
  hspi1.Init.CLKPhase = SPI_PHASE_1EDGE;
  hspi1.Init.NSS = SPI_NSS_SOFT;
  hspi1.Init.BaudRatePrescaler = SPI_BAUDRATEPRESCALER_32;
  hspi1.Init.FirstBit = SPI_FIRSTBIT_MSB;
  hspi1.Init.TIMode = SPI_TIMODE_DISABLE;
  hspi1.Init.CRCCalculation = SPI_CRCCALCULATION_DISABLE;
  hspi1.Init.CRCPolynomial = 7;
  hspi1.Init.CRCLength = SPI_CRC_LENGTH_DATASIZE;
  hspi1.Init.NSSPMode = SPI_NSS_PULSE_ENABLE;
  if (HAL_SPI_Init(&hspi1) != HAL_OK)
  {
    Error_Handler();
  }

}

static void MX_SPI3_Init(void)
{

  /* SPI3 parameter configuration*/
  hspi3.Instance = SPI3;
  hspi3.Init.Mode = SPI_MODE_MASTER;
  hspi3.Init.Direction = SPI_DIRECTION_2LINES;
  hspi3.Init.DataSize = SPI_DATASIZE_16BIT;
  hspi3.Init.CLKPolarity = SPI_POLARITY_HIGH;
  hspi3.Init.CLKPhase = SPI_PHASE_1EDGE;
  hspi3.Init.NSS = SPI_NSS_SOFT;
  hspi3.Init.BaudRatePrescaler = SPI_BAUDRATEPRESCALER_16;
  hspi3.Init.FirstBit = SPI_FIRSTBIT_MSB;
  hspi3.Init.TIMode = SPI_TIMODE_DISABLE;
  hspi3.Init.CRCCalculation = SPI_CRCCALCULATION_DISABLE;
  hspi3.Init.CRCPolynomial = 7;
  hspi3.Init.CRCLength = SPI_CRC_LENGTH_DATASIZE;
  hspi3.Init.NSSPMode = SPI_NSS_PULSE_ENABLE;
  if (HAL_SPI_Init(&hspi3) != HAL_OK)
  {
    Error_Handler();
  }

}

static void MX_TIM2_Init(void)
{

  TIM_ClockConfigTypeDef sClockSourceConfig = {0};
  TIM_MasterConfigTypeDef sMasterConfig = {0};
  TIM_IC_InitTypeDef sConfigIC = {0};

  htim2.Instance = TIM2;
  htim2.Init.Prescaler = 0;
  htim2.Init.CounterMode = TIM_COUNTERMODE_UP;
  htim2.Init.Period = 4294967295;
  htim2.Init.ClockDivision = TIM_CLOCKDIVISION_DIV1;
  htim2.Init.AutoReloadPreload = TIM_AUTORELOAD_PRELOAD_DISABLE;
  if (HAL_TIM_Base_Init(&htim2) != HAL_OK)
  {
    Error_Handler();
  }
  sClockSourceConfig.ClockSource = TIM_CLOCKSOURCE_INTERNAL;
  if (HAL_TIM_ConfigClockSource(&htim2, &sClockSourceConfig) != HAL_OK)
  {
    Error_Handler();
  }
  if (HAL_TIM_IC_Init(&htim2) != HAL_OK)
  {
    Error_Handler();
  }
  sMasterConfig.MasterOutputTrigger = TIM_TRGO_RESET;
  sMasterConfig.MasterSlaveMode = TIM_MASTERSLAVEMODE_DISABLE;
  if (HAL_TIMEx_MasterConfigSynchronization(&htim2, &sMasterConfig) != HAL_OK)
  {
    Error_Handler();
  }
  sConfigIC.ICPolarity = TIM_INPUTCHANNELPOLARITY_RISING;
  sConfigIC.ICSelection = TIM_ICSELECTION_DIRECTTI;
  sConfigIC.ICPrescaler = TIM_ICPSC_DIV1;
  sConfigIC.ICFilter = 0;
  if (HAL_TIM_IC_ConfigChannel(&htim2, &sConfigIC, TIM_CHANNEL_1) != HAL_OK)
  {
    Error_Handler();
  }
  if (HAL_TIMEx_TISelection(&htim2, TIM_TIM2_TI1_COMP3, TIM_CHANNEL_1) != HAL_OK)
  {
    Error_Handler();
  }

}

static void MX_TIM3_Init(void)
{

  TIM_ClockConfigTypeDef sClockSourceConfig = {0};
  TIM_MasterConfigTypeDef sMasterConfig = {0};

  htim3.Instance = TIM3;
  htim3.Init.Prescaler = 0;
  htim3.Init.CounterMode = TIM_COUNTERMODE_UP;
  htim3.Init.Period = 65535;
  htim3.Init.ClockDivision = TIM_CLOCKDIVISION_DIV1;
  htim3.Init.AutoReloadPreload = TIM_AUTORELOAD_PRELOAD_DISABLE;
  if (HAL_TIM_Base_Init(&htim3) != HAL_OK)
  {
    Error_Handler();
  }
  sClockSourceConfig.ClockSource = TIM_CLOCKSOURCE_INTERNAL;
  if (HAL_TIM_ConfigClockSource(&htim3, &sClockSourceConfig) != HAL_OK)
  {
    Error_Handler();
  }
  sMasterConfig.MasterOutputTrigger = TIM_TRGO_RESET;
  sMasterConfig.MasterSlaveMode = TIM_MASTERSLAVEMODE_DISABLE;
  if (HAL_TIMEx_MasterConfigSynchronization(&htim3, &sMasterConfig) != HAL_OK)
  {
    Error_Handler();
  }

}

static void MX_TIM6_Init(void)
{

  TIM_MasterConfigTypeDef sMasterConfig = {0};

  htim6.Instance = TIM6;
  htim6.Init.Prescaler = 0;
  htim6.Init.CounterMode = TIM_COUNTERMODE_UP;
  htim6.Init.Period = 149;
  htim6.Init.AutoReloadPreload = TIM_AUTORELOAD_PRELOAD_DISABLE;
  if (HAL_TIM_Base_Init(&htim6) != HAL_OK)
  {
    Error_Handler();
  }
  sMasterConfig.MasterOutputTrigger = TIM_TRGO_UPDATE;
  sMasterConfig.MasterSlaveMode = TIM_MASTERSLAVEMODE_DISABLE;
  if (HAL_TIMEx_MasterConfigSynchronization(&htim6, &sMasterConfig) != HAL_OK)
  {
    Error_Handler();
  }

}

static void MX_TIM7_Init(void)
{

  TIM_MasterConfigTypeDef sMasterConfig = {0};

  htim7.Instance = TIM7;
  htim7.Init.Prescaler = 0;
  htim7.Init.CounterMode = TIM_COUNTERMODE_UP;
  htim7.Init.Period = 65535;
  htim7.Init.AutoReloadPreload = TIM_AUTORELOAD_PRELOAD_DISABLE;
  if (HAL_TIM_Base_Init(&htim7) != HAL_OK)
  {
    Error_Handler();
  }
  sMasterConfig.MasterOutputTrigger = TIM_TRGO_RESET;
  sMasterConfig.MasterSlaveMode = TIM_MASTERSLAVEMODE_DISABLE;
  if (HAL_TIMEx_MasterConfigSynchronization(&htim7, &sMasterConfig) != HAL_OK)
  {
    Error_Handler();
  }

}

static void MX_TIM15_Init(void)
{

  TIM_ClockConfigTypeDef sClockSourceConfig = {0};
  TIM_MasterConfigTypeDef sMasterConfig = {0};

  htim15.Instance = TIM15;
  htim15.Init.Prescaler = 0;
  htim15.Init.CounterMode = TIM_COUNTERMODE_UP;
  htim15.Init.Period = 65535;
  htim15.Init.ClockDivision = TIM_CLOCKDIVISION_DIV1;
  htim15.Init.RepetitionCounter = 0;
  htim15.Init.AutoReloadPreload = TIM_AUTORELOAD_PRELOAD_DISABLE;
  if (HAL_TIM_Base_Init(&htim15) != HAL_OK)
  {
    Error_Handler();
  }
  sClockSourceConfig.ClockSource = TIM_CLOCKSOURCE_INTERNAL;
  if (HAL_TIM_ConfigClockSource(&htim15, &sClockSourceConfig) != HAL_OK)
  {
    Error_Handler();
  }
  sMasterConfig.MasterOutputTrigger = TIM_TRGO_UPDATE;
  sMasterConfig.MasterSlaveMode = TIM_MASTERSLAVEMODE_DISABLE;
  if (HAL_TIMEx_MasterConfigSynchronization(&htim15, &sMasterConfig) != HAL_OK)
  {
    Error_Handler();
  }

}

static void MX_USART2_UART_Init(void)
{

  huart2.Instance = USART2;
  huart2.Init.BaudRate = 115200;
  huart2.Init.WordLength = UART_WORDLENGTH_8B;
  huart2.Init.StopBits = UART_STOPBITS_1;
  huart2.Init.Parity = UART_PARITY_NONE;
  huart2.Init.Mode = UART_MODE_TX_RX;
  huart2.Init.HwFlowCtl = UART_HWCONTROL_NONE;
  huart2.Init.OverSampling = UART_OVERSAMPLING_16;
  huart2.Init.OneBitSampling = UART_ONE_BIT_SAMPLE_DISABLE;
  huart2.Init.ClockPrescaler = UART_PRESCALER_DIV1;
  huart2.AdvancedInit.AdvFeatureInit = UART_ADVFEATURE_NO_INIT;
  if (HAL_UART_Init(&huart2) != HAL_OK)
  {
    Error_Handler();
  }
  if (HAL_UARTEx_SetTxFifoThreshold(&huart2, UART_TXFIFO_THRESHOLD_1_8) != HAL_OK)
  {
    Error_Handler();
  }
  if (HAL_UARTEx_SetRxFifoThreshold(&huart2, UART_RXFIFO_THRESHOLD_1_8) != HAL_OK)
  {
    Error_Handler();
  }
  if (HAL_UARTEx_DisableFifoMode(&huart2) != HAL_OK)
  {
    Error_Handler();
  }

}

static void MX_DMA_Init(void)
{

  /* DMA controller clock enable */
  __HAL_RCC_DMAMUX1_CLK_ENABLE();
  __HAL_RCC_DMA2_CLK_ENABLE();
  __HAL_RCC_DMA1_CLK_ENABLE();

  /* DMA interrupt init */
  /* DMA1_Channel1_IRQn interrupt configuration */
  HAL_NVIC_SetPriority(DMA1_Channel1_IRQn, 0, 0);
  HAL_NVIC_EnableIRQ(DMA1_Channel1_IRQn);
  /* DMA1_Channel2_IRQn interrupt configuration */
  HAL_NVIC_SetPriority(DMA1_Channel2_IRQn, 0, 0);
  HAL_NVIC_EnableIRQ(DMA1_Channel2_IRQn);
  /* DMA2_Channel8_IRQn interrupt configuration */
  HAL_NVIC_SetPriority(DMA2_Channel8_IRQn, 0, 0);
  HAL_NVIC_EnableIRQ(DMA2_Channel8_IRQn);

}

static void MX_GPIO_Init(void)
{
  GPIO_InitTypeDef GPIO_InitStruct = {0};

  /* GPIO Ports Clock Enable */
  __HAL_RCC_GPIOC_CLK_ENABLE();
  __HAL_RCC_GPIOF_CLK_ENABLE();
  __HAL_RCC_GPIOA_CLK_ENABLE();
  __HAL_RCC_GPIOD_CLK_ENABLE();
  __HAL_RCC_GPIOB_CLK_ENABLE();

  /*Configure GPIO pin Output Level */
  HAL_GPIO_WritePin(GPIOC, con_Pin|LCD_DC_Pin, GPIO_PIN_RESET);

  /*Configure GPIO pin Output Level */
  HAL_GPIO_WritePin(GPIOA, AD9833_EN_Pin|AD9834_EN_Pin, GPIO_PIN_RESET);

  /*Configure GPIO pin Output Level */
  HAL_GPIO_WritePin(SIPO_CS_GPIO_Port, SIPO_CS_Pin, GPIO_PIN_RESET);

  /*Configure GPIO pin Output Level */
  HAL_GPIO_WritePin(XDAC_CS_GPIO_Port, XDAC_CS_Pin, GPIO_PIN_SET);

  /*Configure GPIO pin : UI_SW3_Pin */
  GPIO_InitStruct.Pin = UI_SW3_Pin;
  GPIO_InitStruct.Mode = GPIO_MODE_INPUT;
  GPIO_InitStruct.Pull = GPIO_PULLUP;
  HAL_GPIO_Init(UI_SW3_GPIO_Port, &GPIO_InitStruct);

  /*Configure GPIO pins : con_Pin LCD_DC_Pin */
  GPIO_InitStruct.Pin = con_Pin|LCD_DC_Pin;
  GPIO_InitStruct.Mode = GPIO_MODE_OUTPUT_PP;
  GPIO_InitStruct.Pull = GPIO_NOPULL;
  GPIO_InitStruct.Speed = GPIO_SPEED_FREQ_LOW;
  HAL_GPIO_Init(GPIOC, &GPIO_InitStruct);

  /*Configure GPIO pin : PA8 */
  GPIO_InitStruct.Pin = GPIO_PIN_8;
  GPIO_InitStruct.Mode = GPIO_MODE_AF_PP;
  GPIO_InitStruct.Pull = GPIO_NOPULL;
  GPIO_InitStruct.Speed = GPIO_SPEED_FREQ_HIGH;
  GPIO_InitStruct.Alternate = GPIO_AF0_MCO;
  HAL_GPIO_Init(GPIOA, &GPIO_InitStruct);

  /*Configure GPIO pins : AD9833_EN_Pin AD9834_EN_Pin */
  GPIO_InitStruct.Pin = AD9833_EN_Pin|AD9834_EN_Pin;
  GPIO_InitStruct.Mode = GPIO_MODE_OUTPUT_PP;
  GPIO_InitStruct.Pull = GPIO_NOPULL;
  GPIO_InitStruct.Speed = GPIO_SPEED_FREQ_LOW;
  HAL_GPIO_Init(GPIOA, &GPIO_InitStruct);

  /*Configure GPIO pin : UI_SW0_Pin */
  GPIO_InitStruct.Pin = UI_SW0_Pin;
  GPIO_InitStruct.Mode = GPIO_MODE_INPUT;
  GPIO_InitStruct.Pull = GPIO_PULLUP;
  HAL_GPIO_Init(UI_SW0_GPIO_Port, &GPIO_InitStruct);

  /*Configure GPIO pins : SIPO_CS_Pin XDAC_CS_Pin */
  GPIO_InitStruct.Pin = SIPO_CS_Pin|XDAC_CS_Pin;
  GPIO_InitStruct.Mode = GPIO_MODE_OUTPUT_PP;
  GPIO_InitStruct.Pull = GPIO_NOPULL;
  GPIO_InitStruct.Speed = GPIO_SPEED_FREQ_LOW;
  HAL_GPIO_Init(GPIOB, &GPIO_InitStruct);

}

void Error_Handler(void)
{
  __disable_irq();
  while (1)
  {
  }
}
